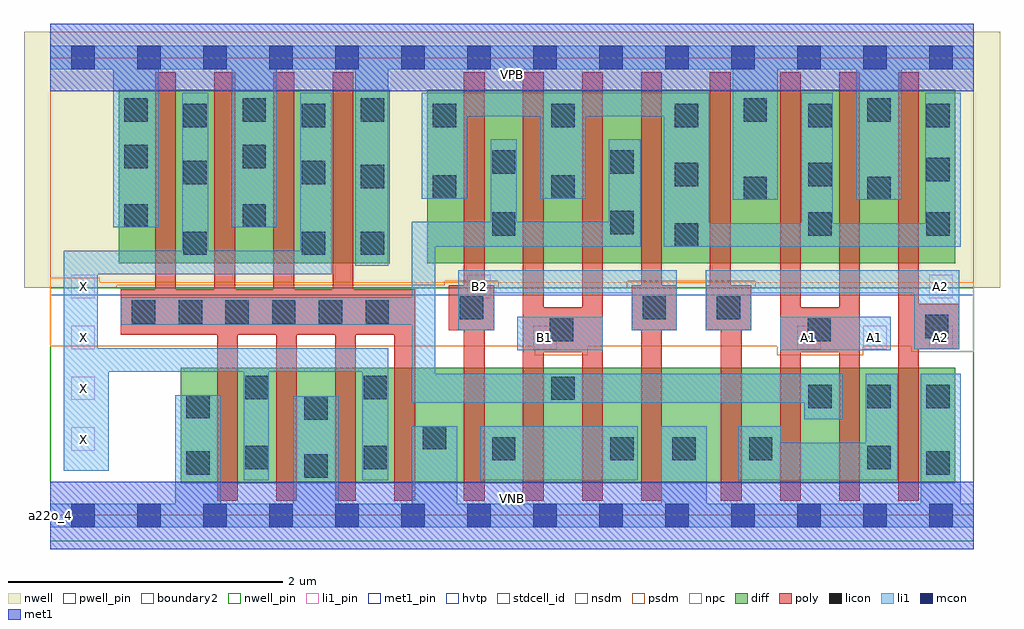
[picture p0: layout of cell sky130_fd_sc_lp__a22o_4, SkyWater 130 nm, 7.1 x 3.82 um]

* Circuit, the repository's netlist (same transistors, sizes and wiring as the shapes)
* Copyright 2020 The SkyWater PDK Authors
*
* Licensed under the Apache License, Version 2.0 (the "License");
* you may not use this file except in compliance with the License.
* You may obtain a copy of the License at
*
*     https://www.apache.org/licenses/LICENSE-2.0
*
* Unless required by applicable law or agreed to in writing, software
* distributed under the License is distributed on an "AS IS" BASIS,
* WITHOUT WARRANTIES OR CONDITIONS OF ANY KIND, either express or implied.
* See the License for the specific language governing permissions and
* limitations under the License.
*
* SPDX-License-Identifier: Apache-2.0

.SUBCKT sky130_fd_sc_lp__a22o_4 A1 A2 B1 B2 VGND VNB VPB VPWR X
*.PININFO A1:I A2:I B1:I B2:I VGND:I VNB:I VPB:I VPWR:I X:O
MMPA0 pndA A1 VPWR VPB sky130_fd_pr__pfet_01v8_hvt m=2 w=1.26U l=0.15U mult=1 sa=0.265
+ sb=0.265 sd=0.28 area=0.063 perim=1.14
MMPA1 pndA A2 VPWR VPB sky130_fd_pr__pfet_01v8_hvt m=2 w=1.26U l=0.15U mult=1 sa=0.265
+ sb=0.265 sd=0.28 area=0.063 perim=1.14
MMPB0 y B1 pndA VPB sky130_fd_pr__pfet_01v8_hvt m=2 w=1.26U l=0.15U mult=1 sa=0.265
+ sb=0.265 sd=0.28 area=0.063 perim=1.14
MMPB1 y B2 pndA VPB sky130_fd_pr__pfet_01v8_hvt m=2 w=1.26U l=0.15U mult=1 sa=0.265
+ sb=0.265 sd=0.28 area=0.063 perim=1.14
MMIPX X y VPWR VPB sky130_fd_pr__pfet_01v8_hvt m=4 w=1.26U l=0.15U mult=1 sa=0.265
+ sb=0.265 sd=0.28 area=0.063 perim=1.14
MMNA0 y A1 sndA1 VNB sky130_fd_pr__nfet_01v8 m=2 w=0.84U l=0.15U mult=1 sa=0.265
+ sb=0.265 sd=0.28 area=0.063 perim=1.14
MMNA1 sndA1 A2 VGND VNB sky130_fd_pr__nfet_01v8 m=2 w=0.84U l=0.15U mult=1 sa=0.265
+ sb=0.265 sd=0.28 area=0.063 perim=1.14
MMNB0 y B1 sndB1 VNB sky130_fd_pr__nfet_01v8 m=2 w=0.84U l=0.15U mult=1 sa=0.265
+ sb=0.265 sd=0.28 area=0.063 perim=1.14
MMNB1 sndB1 B2 VGND VNB sky130_fd_pr__nfet_01v8 m=2 w=0.84U l=0.15U mult=1 sa=0.265
+ sb=0.265 sd=0.28 area=0.063 perim=1.14
MMINX X y VGND VNB sky130_fd_pr__nfet_01v8 m=4 w=0.84U l=0.15U mult=1 sa=0.265
+ sb=0.265 sd=0.28 area=0.063 perim=1.14
.ENDS sky130_fd_sc_lp__a22o_4

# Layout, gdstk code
import gdstk
lib = gdstk.Library(unit=1e-6, precision=1e-09)
def R(c, l, rs):  # rectangles x0, y0, x1, y1
    for r in rs: c.add(gdstk.rectangle(r[:2], r[2:], *l))
def A(c, l, x, y, w, h, nx, ny, dx, dy):  # array of equal rectangles
    R(c, l, [(x+i*dx, y+j*dy, x+i*dx+w, y+j*dy+h) for i in range(nx) for j in range(ny)])
def P(c, l, *ps):  # polygons
    for p in ps: c.add(gdstk.Polygon(p, *l))
nwell_pin = (64, 16)
nwell = (64, 20)
diff = (65, 20)
poly = (66, 20)
licon = (66, 44)
li1_pin = (67, 16)
li1 = (67, 20)
mcon = (67, 44)
met1_pin = (68, 16)
met1 = (68, 20)
hvtp = (78, 44)
stdcell_id = (81, 4)
nsdm = (93, 44)
psdm = (94, 20)
npc = (95, 20)
pwell_pin = (122, 16)
boundary2 = (236, 0)

sky130_fd_sc_lp__a22o_4 = lib.new_cell('sky130_fd_sc_lp__a22o_4')
R(sky130_fd_sc_lp__a22o_4, nwell_pin, [(0,3.085,6.72,3.33)])
R(sky130_fd_sc_lp__a22o_4, nwell, [(-0.19,1.655,6.91,3.52)])
R(sky130_fd_sc_lp__a22o_4, diff, [(0.95,0.235,6.585,1.075), (0.5,1.835,2.47,3.095), (2.745,1.835,6.585,3.095)])
P(sky130_fd_sc_lp__a22o_4, poly, [(2.655,1.645),(2.205,1.645),(2.205,3.225),(2.055,3.225),(2.055,1.645),(1.775,1.645),(1.775,3.225),(1.625,3.225),(1.625,1.645),(1.345,1.645),(1.345,3.225),(1.195,3.225),(1.195,1.645),(0.915,1.645),(0.915,3.225),(0.765,3.225),(0.765,1.645),(0.515,1.645),(0.515,1.315),(1.215,1.315),(1.215,0.105),(1.365,0.105),(1.365,1.315),(1.645,1.315),(1.645,0.105),(1.795,0.105),(1.795,1.315),(2.075,1.315),(2.075,0.105),(2.225,0.105),(2.225,1.315),(2.505,1.315),(2.505,0.105),(2.655,0.105)],
  [(3.23,1.675),(3.16,1.675),(3.16,3.225),(3.01,3.225),(3.01,1.675),(2.9,1.675),(2.9,1.345),(3.01,1.345),(3.01,0.105),(3.16,0.105),(3.16,1.345),(3.23,1.345)],
  [(4.02,3.225),(3.87,3.225),(3.87,1.515),(3.59,1.515),(3.59,3.225),(3.44,3.225),(3.44,0.105),(3.59,0.105),(3.59,1.185),(3.87,1.185),(3.87,0.105),(4.02,0.105)],
  [(4.56,1.675),(4.45,1.675),(4.45,3.225),(4.3,3.225),(4.3,1.675),(4.23,1.675),(4.23,1.345),(4.3,1.345),(4.3,0.105),(4.45,0.105),(4.45,1.345),(4.56,1.345)],
  [(5.1,1.675),(4.95,1.675),(4.95,3.225),(4.8,3.225),(4.8,1.675),(4.77,1.675),(4.77,1.345),(4.88,1.345),(4.88,0.105),(5.03,0.105),(5.03,1.345),(5.1,1.345)],
  [(5.89,3.225),(5.74,3.225),(5.74,1.515),(5.46,1.515),(5.46,3.225),(5.31,3.225),(5.31,0.105),(5.46,0.105),(5.46,1.185),(5.74,1.185),(5.74,0.105),(5.89,0.105)],
  [(6.615,1.54),(6.32,1.54),(6.32,3.225),(6.17,3.225),(6.17,0.105),(6.32,0.105),(6.32,1.21),(6.615,1.21)])
A(sky130_fd_sc_lp__a22o_4, licon, 5.515, 0.78, 0.17, 0.17, 3, 1, 0.43, 0)
A(sky130_fd_sc_lp__a22o_4, licon, 0.595, 1.395, 0.17, 0.17, 6, 1, 0.34, 0)
A(sky130_fd_sc_lp__a22o_4, licon, 6.375, 2.035, 0.17, 0.17, 1, 3, 0, 0.395)
A(sky130_fd_sc_lp__a22o_4, licon, 0.54, 2.865, 0.17, 0.17, 3, 1, 0.86, 0)
R(sky130_fd_sc_lp__a22o_4, licon, [(1.85,0.275,2.02,0.445), (0.99,0.295,1.16,0.465), (6.375,0.295,6.545,0.465), (1.42,0.335,1.59,0.505), (2.28,0.335,2.45,0.505), (5.945,0.335,6.115,0.505), (3.215,0.4,3.385,0.57), (4.075,0.4,4.245,0.57), (4.525,0.4,4.695,0.57), (5.085,0.4,5.255,0.57), (2.71,0.48,2.88,0.65), (1.85,0.695,2.02,0.865), (0.99,0.705,1.16,0.875), (3.645,0.84,3.815,1.01), (1.42,0.845,1.59,1.015), (2.28,0.845,2.45,1.015), (3.635,1.265,3.805,1.435), (5.51,1.265,5.68,1.435), (6.365,1.29,6.535,1.46), (2.98,1.425,3.15,1.595), (4.31,1.425,4.48,1.595), (4.85,1.425,5.02,1.595), (0.97,1.895,1.14,2.065), (1.83,1.895,2,2.065), (2.26,1.895,2.43,2.065), (4.545,1.955,4.715,2.125), (3.215,2.035,3.385,2.205), (5.515,2.035,5.685,2.205), (4.075,2.045,4.245,2.215), (0.54,2.095,0.71,2.265), (1.4,2.095,1.57,2.265), (5.045,2.295,5.215,2.465), (5.945,2.295,6.115,2.465), (2.785,2.305,2.955,2.475), (3.645,2.305,3.815,2.475), (2.26,2.38,2.43,2.55), (4.545,2.395,4.715,2.565), (5.515,2.395,5.685,2.565), (0.97,2.41,1.14,2.58), (1.83,2.41,2,2.58), (3.215,2.485,3.385,2.655), (4.075,2.485,4.245,2.655), (0.54,2.525,0.71,2.695), (1.4,2.525,1.57,2.695), (0.97,2.825,1.14,2.995), (1.83,2.825,2,2.995), (2.785,2.825,2.955,2.995), (3.645,2.825,3.815,2.995), (4.545,2.825,4.715,2.995), (5.515,2.825,5.685,2.995), (5.045,2.865,5.215,3.035), (5.945,2.865,6.115,3.035)])
A(sky130_fd_sc_lp__a22o_4, li1_pin, 0.155, 0.47, 0.17, 0.17, 1, 4, 0, 0.37)
A(sky130_fd_sc_lp__a22o_4, li1_pin, 5.435, 1.21, 0.17, 0.17, 3, 1, 0.48, 0)
R(sky130_fd_sc_lp__a22o_4, li1_pin, [(3.515,1.21,3.685,1.38), (3.035,1.58,3.205,1.75), (6.395,1.58,6.565,1.75)])
R(sky130_fd_sc_lp__a22o_4, li1, [(3.13,0.255,4.275,0.65), (3.4,1.2,4.02,1.445), (5.31,1.2,6.115,1.445)])
P(sky130_fd_sc_lp__a22o_4, li1, [(5.765,1.03),(2.8,1.03),(2.8,1.955),(4.295,1.955),(4.295,2.735),(4.065,2.735),(4.065,2.135),(3.395,2.135),(3.395,2.735),(3.205,2.735),(3.205,2.135),(2.63,2.135),(2.63,1.585),(0.515,1.585),(0.515,1.385),(2.63,1.385),(2.63,0.82),(5.485,0.82),(5.485,0.7),(5.765,0.7)],
  [(6.625,3.075),(6.365,3.075),(6.365,2.125),(5.695,2.125),(5.695,3.075),(5.465,3.075),(5.465,2.125),(4.795,2.125),(4.795,3.075),(2.705,3.075),(2.705,2.305),(3.035,2.305),(3.035,2.905),(3.565,2.905),(3.565,2.305),(3.895,2.305),(3.895,2.905),(4.465,2.905),(4.465,1.955),(6.625,1.955)],
  [(2.46,1.215),(0.345,1.215),(0.345,1.755),(2.05,1.755),(2.05,3.075),(1.82,3.075),(1.82,1.925),(1.15,1.925),(1.15,3.075),(0.96,3.075),(0.96,1.925),(0.1,1.925),(0.1,0.325),(0.425,0.325),(0.425,1.045),(1.41,1.045),(1.41,0.255),(1.59,0.255),(1.59,1.045),(2.27,1.045),(2.27,0.255),(2.46,0.255)],
  [(6.72,0.085),(6.625,0.085),(6.625,1.03),(6.335,1.03),(6.335,0.085),(4.775,0.085),(4.775,0.65),(4.445,0.65),(4.445,0.085),(2.96,0.085),(2.96,0.65),(2.63,0.65),(2.63,0.085),(2.1,0.085),(2.1,0.865),(1.77,0.865),(1.77,0.085),(1.24,0.085),(1.24,0.875),(0.91,0.875),(0.91,0.085),(0,0.085),(0,-0.085),(6.72,-0.085)],
  [(6.165,1.03),(5.935,1.03),(5.935,0.53),(5.315,0.53),(5.315,0.65),(5.005,0.65),(5.005,0.255),(6.165,0.255)],
  [(6.72,3.415),(0,3.415),(0,3.245),(0.46,3.245),(0.46,2.095),(0.79,2.095),(0.79,3.245),(1.32,3.245),(1.32,2.095),(1.65,2.095),(1.65,3.245),(2.22,3.245),(2.22,1.815),(2.46,1.815),(2.46,3.245),(4.965,3.245),(4.965,2.295),(5.295,2.295),(5.295,3.245),(5.865,3.245),(5.865,2.295),(6.195,2.295),(6.195,3.245),(6.72,3.245)],
  [(6.615,1.785),(4.77,1.785),(4.77,1.345),(5.1,1.345),(5.1,1.615),(6.285,1.615),(6.285,1.21),(6.615,1.21)],
  [(4.56,1.785),(2.97,1.785),(2.97,1.345),(3.23,1.345),(3.23,1.615),(4.23,1.615),(4.23,1.345),(4.56,1.345)])
A(sky130_fd_sc_lp__a22o_4, mcon, 0.155, -0.085, 0.17, 0.17, 14, 2, 0.48, 3.33)
R(sky130_fd_sc_lp__a22o_4, met1_pin, [(0,0,6.72,0.245), (0,3.085,6.72,3.33)])
R(sky130_fd_sc_lp__a22o_4, met1, [(0,-0.245,6.72,0.245), (0,3.085,6.72,3.575)])
R(sky130_fd_sc_lp__a22o_4, hvtp, [(0,1.6,6.72,3.33)])
R(sky130_fd_sc_lp__a22o_4, stdcell_id, [(0,0,6.72,3.33)])
R(sky130_fd_sc_lp__a22o_4, nsdm, [(0,-0.19,6.72,1.655)])
P(sky130_fd_sc_lp__a22o_4, psdm, [(6.72,3.52),(0,3.52),(0,1.655),(0.485,1.655),(0.485,1.675),(2.87,1.675),(2.87,1.705),(3.26,1.705),(3.26,1.655),(4.2,1.655),(4.2,1.705),(5.13,1.705),(5.13,1.655),(6.72,1.655)])
P(sky130_fd_sc_lp__a22o_4, npc, [(6.72,1.695),(0.36,1.695),(0.36,1.73),(0,1.73),(0,1.23),(3.525,1.23),(3.525,1.165),(3.91,1.165),(3.91,1.23),(5.29,1.23),(5.29,1.165),(5.915,1.165),(5.915,1.23),(6.265,1.23),(6.265,1.19),(6.72,1.19)])
R(sky130_fd_sc_lp__a22o_4, pwell_pin, [(0,0,6.72,0.245)])
R(sky130_fd_sc_lp__a22o_4, boundary2, [(0,0,6.72,3.33)])
sky130_fd_sc_lp__a22o_4.add(gdstk.Label('VNB', (3.36,0.123), layer=64, texttype=59))
sky130_fd_sc_lp__a22o_4.add(gdstk.Label('VPB', (3.36,3.208), layer=64, texttype=5))
sky130_fd_sc_lp__a22o_4.add(gdstk.Label('a22o_4', (0,0), layer=83, texttype=44))
sky130_fd_sc_lp__a22o_4.add(gdstk.Label('VPWR', (3.36,3.208), layer=68, texttype=5))
sky130_fd_sc_lp__a22o_4.add(gdstk.Label('VGND', (3.36,0.123), layer=68, texttype=5))
sky130_fd_sc_lp__a22o_4.add(gdstk.Label('A1', (5.52,1.295), layer=67, texttype=5))
sky130_fd_sc_lp__a22o_4.add(gdstk.Label('A1', (6,1.295), layer=67, texttype=5))
sky130_fd_sc_lp__a22o_4.add(gdstk.Label('B1', (3.6,1.295), layer=67, texttype=5))
sky130_fd_sc_lp__a22o_4.add(gdstk.Label('X', (0.24,0.555), layer=67, texttype=5))
sky130_fd_sc_lp__a22o_4.add(gdstk.Label('X', (0.24,0.925), layer=67, texttype=5))
sky130_fd_sc_lp__a22o_4.add(gdstk.Label('X', (0.24,1.295), layer=67, texttype=5))
sky130_fd_sc_lp__a22o_4.add(gdstk.Label('X', (0.24,1.665), layer=67, texttype=5))
sky130_fd_sc_lp__a22o_4.add(gdstk.Label('A2', (6.48,1.295), layer=67, texttype=5))
sky130_fd_sc_lp__a22o_4.add(gdstk.Label('A2', (6.48,1.665), layer=67, texttype=5))
sky130_fd_sc_lp__a22o_4.add(gdstk.Label('B2', (3.12,1.665), layer=67, texttype=5))

lib.write_gds('sky130_fd_sc_lp__a22o_4.gds')
